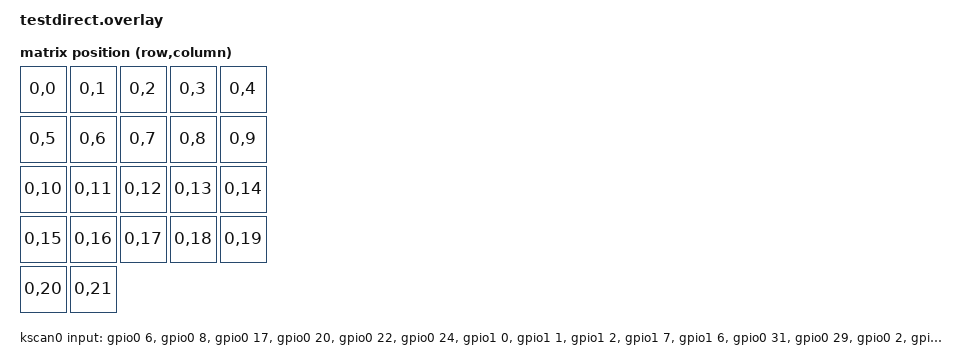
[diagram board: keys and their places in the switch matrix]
#include <dt-bindings/zmk/matrix_transform.h>

/ {
	chosen {
		zmk,kscan = &kscan0;
		zmk,matrix_transform = &default_transform;
	};

	kscan0: kscan0 {
		compatible = "zmk,kscan-gpio-direct";
		input-gpios
      = <&gpio0 6  (GPIO_ACTIVE_LOW | GPIO_PULL_UP)>   // D1  P0.06  |  A
			, <&gpio0 8  (GPIO_ACTIVE_LOW | GPIO_PULL_UP)>   // D0  P0.08  |  B
			, <&gpio0 17 (GPIO_ACTIVE_LOW | GPIO_PULL_UP)>   // D2  P0.17  |  C
			, <&gpio0 20 (GPIO_ACTIVE_LOW | GPIO_PULL_UP)>   // D3  P0.20  |  D
			, <&gpio0 22 (GPIO_ACTIVE_LOW | GPIO_PULL_UP)>   // D4  P0.22  |  E

			, <&gpio0 24 (GPIO_ACTIVE_LOW | GPIO_PULL_UP)>   // D5  P0.24  |  F
			, <&gpio1 0  (GPIO_ACTIVE_LOW | GPIO_PULL_UP)>   // D6  P1.00  |  G
			, <&gpio1 1  (GPIO_ACTIVE_LOW | GPIO_PULL_UP)>   // P1.01  |  H
			, <&gpio1 2  (GPIO_ACTIVE_LOW | GPIO_PULL_UP)>   // P1.02  |  I
			, <&gpio1 7  (GPIO_ACTIVE_LOW | GPIO_PULL_UP)>   // P1.07  |  J

      , <&gpio1 6  (GPIO_ACTIVE_LOW | GPIO_PULL_UP)>   // D10 P1.06  |  K
			, <&gpio0 31 (GPIO_ACTIVE_LOW | GPIO_PULL_UP)>   // D21 P0.31  |  L
			, <&gpio0 29 (GPIO_ACTIVE_LOW | GPIO_PULL_UP)>   // D20 P0.29  |  M
			, <&gpio0 2  (GPIO_ACTIVE_LOW | GPIO_PULL_UP)>   // D19 P0.02  |  N
			, <&gpio1 15 (GPIO_ACTIVE_LOW | GPIO_PULL_UP)>   // D18 P1.15  |  O

      , <&gpio1 13 (GPIO_ACTIVE_LOW | GPIO_PULL_UP)>   // D17 P1.13  |  P
			, <&gpio1 10 (GPIO_ACTIVE_LOW | GPIO_PULL_UP)>   // D16 P1.10  |  Q
			, <&gpio1 11 (GPIO_ACTIVE_LOW | GPIO_PULL_UP)>   // D15 P1.11  |  R
			, <&gpio1 12 (GPIO_ACTIVE_LOW | GPIO_PULL_UP)>   // D14 P1.12  |  S
			, <&gpio1 14 (GPIO_ACTIVE_LOW | GPIO_PULL_UP)>   // D13 P1.14  |  T

      , <&gpio0 19 (GPIO_ACTIVE_LOW | GPIO_PULL_UP)>   // D12 P0.19  |  U
			, <&gpio0 18 (GPIO_ACTIVE_LOW | GPIO_PULL_UP)>   // D11 P0.18  |  V
			;
	};

	default_transform: keymap_transform_0 {
		compatible = "zmk,matrix-transform";
		columns = <22>;
		rows = <1>;
		map = <
			RC(0,0)  RC(0,1)  RC(0,2)  RC(0,3)  RC(0,4)
			RC(0,5)  RC(0,6)  RC(0,7)  RC(0,8)  RC(0,9)
			RC(0,10) RC(0,11) RC(0,12) RC(0,13) RC(0,14)
			RC(0,15) RC(0,16) RC(0,17) RC(0,18) RC(0,19)
			RC(0,20) RC(0,21)
		>;
	};
};
